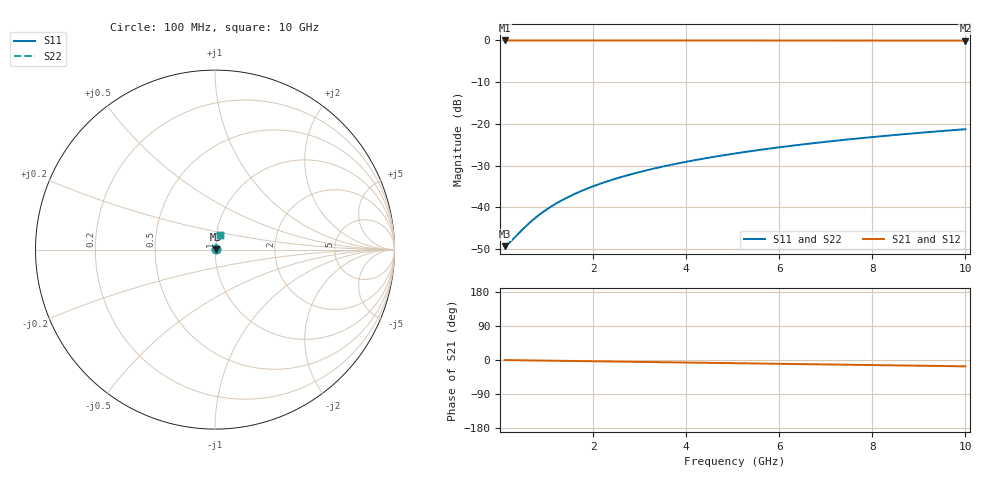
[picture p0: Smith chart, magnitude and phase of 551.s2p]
# Hz S RI R 50.00
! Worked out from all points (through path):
!   100 points, 100 MHz to 10 GHz, reference 50 ohm
!   highest |S21| = -0.03 dB at 100 MHz (marker M1); lowest = -0.1 dB at 10 GHz (marker M2)
!   group delay of S21, straight-line fit = 4.64 ps
!   lowest |S11| = -49.3 dB at 100 MHz (marker M3), VSWR 1.01, Z = 50.3 + j0.0871 ohm
!   |S11| at or under -10 dB: start of sweep to end of sweep
!   |S22| runs from -49.3 to -21.3 dB; largest |S21 - S12| = 0
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1e8  0.00331 0.000866  0.9967 -0.00291  0.9967 -0.00291  0.00331 0.000866
2e8  0.00334 0.00173  0.9966 -0.00581  0.9966 -0.00581  0.00334 0.00173
6e8  0.00347 0.00519  0.9964 -0.0174  0.9964 -0.0174  0.00347 0.00519
7e8  0.00351 0.00606  0.9964 -0.0203  0.9964 -0.0203  0.00351 0.00606
9e8  0.00361 0.00778  0.9962 -0.0261  0.9962 -0.0261  0.00361 0.00778
1.1e9  0.00372 0.00951  0.996 -0.032  0.996 -0.032  0.00372 0.00951
1.3e9  0.00385 0.0112  0.9958 -0.0378  0.9958 -0.0378  0.00385 0.0112
1.5e9  0.004 0.013  0.9955 -0.0436  0.9955 -0.0436  0.004 0.013
1.8e9  0.00426 0.0155  0.995 -0.0523  0.995 -0.0523  0.00426 0.0155
2.1e9  0.00457 0.0181  0.9945 -0.061  0.9945 -0.061  0.00457 0.0181
2.5e9  0.00505 0.0215  0.9936 -0.0726  0.9936 -0.0726  0.00505 0.0215
2.9e9  0.00561 0.025  0.9926 -0.0841  0.9926 -0.0841  0.00561 0.025
3.4e9  0.00641 0.0292  0.9911 -0.0986  0.9911 -0.0986  0.00641 0.0292
3.8e9  0.00715 0.0326  0.9898 -0.1101  0.9898 -0.1101  0.00715 0.0326
4.2e9  0.00796 0.0359  0.9883 -0.1217  0.9883 -0.1217  0.00796 0.0359
4.6e9  0.00885 0.0393  0.9866 -0.1332  0.9866 -0.1332  0.00885 0.0393
5.1e9  0.0101 0.0434  0.9844 -0.1475  0.9844 -0.1475  0.0101 0.0434
5.9e9  0.0123 0.05  0.9803 -0.1704  0.9803 -0.1704  0.0123 0.05
6.7e9  0.0148 0.0564  0.9757 -0.1931  0.9757 -0.1931  0.0148 0.0564
7.5e9  0.0176 0.0627  0.9705 -0.2157  0.9705 -0.2157  0.0176 0.0627
8.4e9  0.0211 0.0696  0.9639 -0.241  0.9639 -0.241  0.0211 0.0696
1e10  0.0282 0.0815  0.9506 -0.2854  0.9506 -0.2854  0.0282 0.0815
